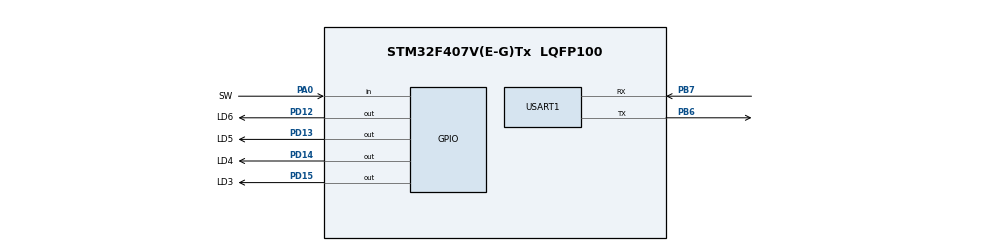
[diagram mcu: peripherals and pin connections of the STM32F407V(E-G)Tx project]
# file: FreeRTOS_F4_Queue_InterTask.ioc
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Mcu.Family=STM32F4
Mcu.Name=STM32F407V(E-G)Tx
Mcu.Package=LQFP100
NVIC.PriorityGroup=NVIC_PRIORITYGROUP_4
NVIC.USART1_IRQn=true\:5\:0\:true\:false\:true\:true\:true\:true
PA0-WKUP.GPIO_Label=SW
PA0-WKUP.GPIO_PuPd=GPIO_NOPULL
PA0-WKUP.Signal=GPIO_Input
PB6.Mode=Asynchronous
PB6.Signal=USART1_TX
PB7.Mode=Asynchronous
PB7.Signal=USART1_RX
PD12.GPIO_Label=LD6
PD12.Signal=GPIO_Output
PD13.GPIO_Label=LD5
PD13.Signal=GPIO_Output
PD14.GPIO_Label=LD4
PD14.Signal=GPIO_Output
PD15.GPIO_Label=LD3
PD15.Signal=GPIO_Output
ProjectManager.HeapSize=0x200
ProjectManager.StackSize=0x400
ProjectManager.TargetToolchain=STM32CubeIDE
RCC.AHBFreq_Value=16000000
RCC.APB1Freq_Value=16000000
RCC.APB2Freq_Value=16000000
RCC.CortexFreq_Value=16000000
RCC.HSE_VALUE=25000000
RCC.HSI_VALUE=16000000
RCC.LSE_VALUE=32768
RCC.SYSCLKFreq_VALUE=16000000
RCC.VCOOutputFreq_Value=192000000
USART1.VirtualMode=VM_ASYNC
board=custom

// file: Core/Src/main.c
/* USER CODE BEGIN Header */
/**
  ******************************************************************************
  * @file           : main.c
  * @brief          : Main program body
  ******************************************************************************
  * @attention
  *
  * Copyright (c) 2024 STMicroelectronics.
  * All rights reserved.
  *
  * This software is licensed under terms that can be found in the LICENSE file
  * in the root directory of this software component.
  * If no LICENSE file comes with this software, it is provided AS-IS.
  *
  ******************************************************************************
  */
/* USER CODE END Header */
#include "main.h"

/* USER CODE BEGIN PD */
static void Status_Led_Task( void *pvParameters );
static void LD4_Task( void *pvParameters );
static void LD5_Task( void *pvParameters );
static void Switch_Task( void *pvParameters );
/* USER CODE END PD */

/* USER CODE BEGIN PV */
TaskHandle_t   status_task_Handle;
xQueueHandle	queue_led_command;
/* USER CODE END PV */

void SystemClock_Config(void);
static void MX_GPIO_Init(void);
static void MX_USART1_UART_Init(void);

int main(void)
{

  /* MCU Configuration--------------------------------------------------------*/

  /* Reset of all peripherals, Initializes the Flash interface and the Systick. */
  LL_APB2_GRP1_EnableClock(LL_APB2_GRP1_PERIPH_SYSCFG);
  LL_APB1_GRP1_EnableClock(LL_APB1_GRP1_PERIPH_PWR);

  /* System interrupt init*/
  NVIC_SetPriorityGrouping(NVIC_PRIORITYGROUP_4);

  /* SysTick_IRQn interrupt configuration */
  NVIC_SetPriority(SysTick_IRQn, NVIC_EncodePriority(NVIC_GetPriorityGrouping(),15, 0));

  /* Configure the system clock */
  SystemClock_Config();

  /* Initialize all configured peripherals */
  MX_GPIO_Init();
  MX_USART1_UART_Init();
  /* USER CODE BEGIN 2 */
  UARTStdioConfig(USART1,USART1_IRQn, true);
  queue_led_command = xQueueCreate(5, sizeof(led_command_t));
  xTaskCreate(Status_Led_Task, "statusLEDTask",configMINIMAL_STACK_SIZE, NULL, 2, &status_task_Handle);
  xTaskCreate(LD4_Task, "LD4_Task",configMINIMAL_STACK_SIZE, NULL, 1, NULL);
//  xTaskCreate(LD5_Task, "LD5_Task",configMINIMAL_STACK_SIZE, NULL, 1, NULL);
//  xTaskCreate(Switch_Task, "SW task",configMINIMAL_STACK_SIZE, NULL, 1, NULL);

  /* USER CODE END 2 */

  /* Infinite loop */
  /* USER CODE BEGIN WHILE */
  vTaskStartScheduler();
  while (1)
  {
    /* USER CODE END WHILE */

  }
}

void SystemClock_Config(void)
{
  LL_FLASH_SetLatency(LL_FLASH_LATENCY_0);
  while(LL_FLASH_GetLatency()!= LL_FLASH_LATENCY_0)
  {
  }
  LL_PWR_SetRegulVoltageScaling(LL_PWR_REGU_VOLTAGE_SCALE1);
  LL_RCC_HSI_SetCalibTrimming(16);
  LL_RCC_HSI_Enable();

   /* Wait till HSI is ready */
  while(LL_RCC_HSI_IsReady() != 1)
  {

  }
  LL_RCC_SetAHBPrescaler(LL_RCC_SYSCLK_DIV_1);
  LL_RCC_SetAPB1Prescaler(LL_RCC_APB1_DIV_1);
  LL_RCC_SetAPB2Prescaler(LL_RCC_APB2_DIV_1);
  LL_RCC_SetSysClkSource(LL_RCC_SYS_CLKSOURCE_HSI);

   /* Wait till System clock is ready */
  while(LL_RCC_GetSysClkSource() != LL_RCC_SYS_CLKSOURCE_STATUS_HSI)
  {

  }
  LL_Init1msTick(16000000);
  LL_SetSystemCoreClock(16000000);
}

static void MX_USART1_UART_Init(void)
{

  LL_USART_InitTypeDef USART_InitStruct = {0};

  LL_GPIO_InitTypeDef GPIO_InitStruct = {0};

  /* Peripheral clock enable */
  LL_APB2_GRP1_EnableClock(LL_APB2_GRP1_PERIPH_USART1);

  LL_AHB1_GRP1_EnableClock(LL_AHB1_GRP1_PERIPH_GPIOB);
  /**USART1 GPIO Configuration
  PB6   ------> USART1_TX
  PB7   ------> USART1_RX
  */
  GPIO_InitStruct.Pin = LL_GPIO_PIN_6|LL_GPIO_PIN_7;
  GPIO_InitStruct.Mode = LL_GPIO_MODE_ALTERNATE;
  GPIO_InitStruct.Speed = LL_GPIO_SPEED_FREQ_VERY_HIGH;
  GPIO_InitStruct.OutputType = LL_GPIO_OUTPUT_PUSHPULL;
  GPIO_InitStruct.Pull = LL_GPIO_PULL_NO;
  GPIO_InitStruct.Alternate = LL_GPIO_AF_7;
  LL_GPIO_Init(GPIOB, &GPIO_InitStruct);

  /* USART1 interrupt Init */
  NVIC_SetPriority(USART1_IRQn, NVIC_EncodePriority(NVIC_GetPriorityGrouping(),5, 0));
  NVIC_EnableIRQ(USART1_IRQn);

  USART_InitStruct.BaudRate = 115200;
  USART_InitStruct.DataWidth = LL_USART_DATAWIDTH_8B;
  USART_InitStruct.StopBits = LL_USART_STOPBITS_1;
  USART_InitStruct.Parity = LL_USART_PARITY_NONE;
  USART_InitStruct.TransferDirection = LL_USART_DIRECTION_TX_RX;
  USART_InitStruct.HardwareFlowControl = LL_USART_HWCONTROL_NONE;
  USART_InitStruct.OverSampling = LL_USART_OVERSAMPLING_16;
  LL_USART_Init(USART1, &USART_InitStruct);
  LL_USART_ConfigAsyncMode(USART1);
  LL_USART_Enable(USART1);

}

static void MX_GPIO_Init(void)
{
  LL_GPIO_InitTypeDef GPIO_InitStruct = {0};

  /* GPIO Ports Clock Enable */
  LL_AHB1_GRP1_EnableClock(LL_AHB1_GRP1_PERIPH_GPIOA);
  LL_AHB1_GRP1_EnableClock(LL_AHB1_GRP1_PERIPH_GPIOD);
  LL_AHB1_GRP1_EnableClock(LL_AHB1_GRP1_PERIPH_GPIOB);

  /**/
  LL_GPIO_ResetOutputPin(GPIOD, LD6_Pin|LD5_Pin|LD4_Pin|LD3_Pin);

  /**/
  GPIO_InitStruct.Pin = SW_Pin;
  GPIO_InitStruct.Mode = LL_GPIO_MODE_INPUT;
  GPIO_InitStruct.Pull = LL_GPIO_PULL_NO;
  LL_GPIO_Init(SW_GPIO_Port, &GPIO_InitStruct);

  /**/
  GPIO_InitStruct.Pin = LD6_Pin|LD5_Pin|LD4_Pin|LD3_Pin;
  GPIO_InitStruct.Mode = LL_GPIO_MODE_OUTPUT;
  GPIO_InitStruct.Speed = LL_GPIO_SPEED_FREQ_LOW;
  GPIO_InitStruct.OutputType = LL_GPIO_OUTPUT_PUSHPULL;
  GPIO_InitStruct.Pull = LL_GPIO_PULL_NO;
  LL_GPIO_Init(GPIOD, &GPIO_InitStruct);

}

/* USER CODE BEGIN 4 */
static void Status_Led_Task( void *pvParameters )
{

	led_command_t	received_led_command;
	BaseType_t	ret;
	while(1)
	{
		ret = xQueueReceive(queue_led_command, &received_led_command, 5000);
		if (ret == pdPASS )
		{
			if (received_led_command == LED_ON)
			{
				UARTprintf("received LED ON command\n");
				LL_GPIO_SetOutputPin(LD3_GPIO_Port, LD3_Pin);
			}
			else 	if (received_led_command == LED_OFF)
			{
				UARTprintf("received LED OFF command\n");
				LL_GPIO_ResetOutputPin(LD3_GPIO_Port, LD3_Pin);
			}
			else 	if (received_led_command == LED_TOGGLE)
			{
				UARTprintf("received LED TOGGLE command\n");
				LL_GPIO_TogglePin(LD3_GPIO_Port, LD3_Pin);
			}
		}
		else	UARTprintf("not received any command in 5s\n");

	}
}
static void LD4_Task( void *pvParameters )
{
	uint32_t	i;
	while(1)
	{

		LL_GPIO_TogglePin(LD4_GPIO_Port,LD4_Pin);
		UARTprintf("toggle LED4\n");
		//vTaskDelay(1000);
		for(i=0;i<10000000;i++);

	}
}
static void LD5_Task( void *pvParameters )
{
	TickType_t xLastWakeTime;
	xLastWakeTime = xTaskGetTickCount();
	while(1)
	{

		LL_GPIO_TogglePin(LD5_GPIO_Port,LD5_Pin);
		UARTprintf("toggle LED5\n");
		 vTaskDelayUntil( &xLastWakeTime, 1000 );

	}
}

uint32_t	read_button()
{
	if (LL_GPIO_IsInputPinSet(SW_GPIO_Port, SW_Pin)) return PRESSED;
	else
		return RELEASED;
}

static void Switch_Task( void *pvParameters )
{
	uint32_t		switch_prev_state = read_button();
	uint32_t		switch_current_state;
	led_command_t	Switch_Task_led_command;
	BaseType_t	ret;
	while(1)
	{
		switch_current_state = read_button();
		if (switch_current_state != switch_prev_state)
		{
			switch_prev_state = switch_current_state;
			if (switch_current_state == PRESSED) Switch_Task_led_command = LED_ON;
			else Switch_Task_led_command = LED_OFF;
			ret = xQueueSend(queue_led_command,&Switch_Task_led_command,0);

		}
		vTaskDelay(10);

	}
}
/* USER CODE END 4 */

void Error_Handler(void)
{
  __disable_irq();
  while (1)
  {
  }
}
